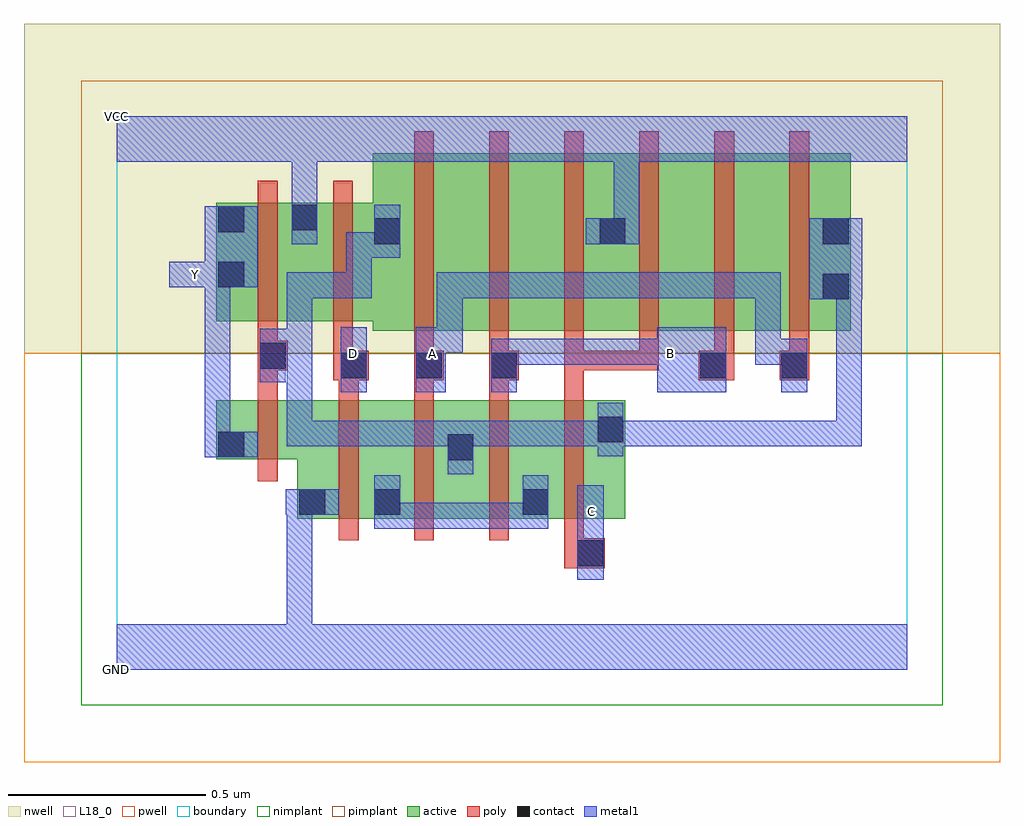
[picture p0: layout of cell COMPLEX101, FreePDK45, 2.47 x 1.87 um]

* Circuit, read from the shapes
.subckt COMPLEX101 A B C D GND VCC Y
M1 GND n1 Y VSUBS nfet w=0.15u l=0.05u
M2 n2 D GND VSUBS nfet w=0.3u l=0.05u
M3 n1 A n2 VSUBS nfet w=0.3u l=0.05u
M4 n2 B n1 VSUBS nfet w=0.3u l=0.05u
M5 n1 C n2 VSUBS nfet w=0.3u l=0.05u
M6 VCC n1 Y n3 pfet w=0.3u l=0.05u
M7 n1 D VCC n3 pfet w=0.3u l=0.05u
M8 n4 A n1 n3 pfet w=0.45u l=0.05u
M9 n5 B n4 n3 pfet w=0.45u l=0.05u
M10 VCC C n5 n3 pfet w=0.45u l=0.05u
M11 n6 C VCC n3 pfet w=0.45u l=0.05u
M12 n7 B n6 n3 pfet w=0.45u l=0.05u
M13 n1 A n7 n3 pfet w=0.45u l=0.05u
.ends

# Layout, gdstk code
import gdstk
lib = gdstk.Library(unit=1e-6, precision=1e-09)
def R(c, l, rs):  # rectangles x0, y0, x1, y1
    for r in rs: c.add(gdstk.rectangle(r[:2], r[2:], *l))
def A(c, l, x, y, w, h, nx, ny, dx, dy):  # array of equal rectangles
    R(c, l, [(x+i*dx, y+j*dy, x+i*dx+w, y+j*dy+h) for i in range(nx) for j in range(ny)])
active = (1, 0)
pwell = (2, 0)
nwell = (3, 0)
nimplant = (4, 0)
pimplant = (5, 0)
poly = (9, 0)
contact = (10, 0)
metal1 = (11, 0)
L18_0 = (18, 0)
boundary = (235, 0)

complex101 = lib.new_cell('COMPLEX101')
R(complex101, active, [(0.457,0.382,0.722,0.682), (0.647,0.382,0.722,0.547), (0.647,0.382,0.907,0.682), (0.832,0.382,1.097,0.682), (0.832,0.382,0.907,0.6), (1.022,0.382,1.287,0.682), (1.022,0.382,1.097,0.547), (1.212,0.382,1.287,0.682), (0.457,0.387,0.532,0.682), (0.252,0.532,0.532,0.682), (0.252,0.532,0.327,0.682), (0.647,0.857,0.872,1.307), (0.872,0.857,1.062,1.307), (1.062,0.857,1.292,1.307), (1.217,0.857,1.442,1.307), (1.217,0.857,1.292,1.305), (1.442,0.857,1.632,1.307), (1.632,0.857,1.857,1.307), (1.782,0.857,1.857,1.2), (0.252,0.882,0.327,1.182), (0.252,0.882,0.512,1.182), (0.437,0.882,0.722,1.182), (0.437,1.007,0.512,1.182), (0.647,1.007,0.722,1.2)])
R(complex101, pwell, [(-0.235,-0.235,2.235,0.8)])
R(complex101, nwell, [(-0.235,0.8,2.235,1.635)])
R(complex101, nimplant, [(-0.09,-0.09,2.09,0.8)])
R(complex101, pimplant, [(-0.09,0.8,2.09,1.49)])
A(complex101, poly, 0.562, 0.327, 0.05, 0.41, 4, 1, 0.19, 0)
A(complex101, poly, 0.562, 0.687, 0.05, 0.095, 3, 1, 0.19, 0)
A(complex101, poly, 0.752, 0.757, 0.05, 0.095, 6, 1, 0.19, 0)
A(complex101, poly, 0.752, 0.802, 0.05, 0.56, 6, 1, 0.19, 0)
R(complex101, poly, [(1.132,0.257,1.235,0.332), (1.132,0.282,1.182,0.377), (0.357,0.477,0.407,0.737), (0.357,0.687,0.407,0.807), (1.132,0.687,1.182,0.807), (0.547,0.732,0.637,0.807), (0.752,0.732,0.827,0.807), (0.942,0.732,1.017,0.807), (1.472,0.732,1.562,0.807), (1.677,0.732,1.752,0.807), (0.357,0.757,0.432,0.832), (0.547,0.757,0.597,0.877), (1.132,0.757,1.182,0.807), (1.132,0.757,1.372,0.807), (1.322,0.757,1.372,0.807), (1.322,0.757,1.372,0.807), (1.322,0.757,1.372,0.807), (0.357,0.782,0.407,0.877), (0.357,0.827,0.407,1.237), (0.547,0.827,0.597,1.237)])
A(complex101, contact, 0.567, 0.737, 0.065, 0.065, 3, 1, 0.19, 0)
R(complex101, contact, [(1.165,0.262,1.23,0.327), (0.462,0.392,0.527,0.457), (0.652,0.392,0.717,0.457), (1.027,0.392,1.092,0.457), (0.837,0.53,0.902,0.595), (0.257,0.537,0.322,0.602), (1.217,0.575,1.282,0.64), (1.477,0.737,1.542,0.802), (1.682,0.737,1.747,0.802), (0.362,0.762,0.427,0.827), (1.787,0.937,1.852,1.002), (0.257,0.967,0.322,1.032), (0.652,1.077,0.717,1.142), (1.222,1.077,1.287,1.142), (1.787,1.077,1.852,1.142), (0.257,1.107,0.322,1.172), (0.442,1.112,0.507,1.177)])
R(complex101, metal1, [(0,0,2,0.115), (0.43,0.05,0.495,0.115), (0.43,0.05,0.495,0.115), (0.43,0.05,0.495,0.457), (1.165,0.227,1.232,0.467), (0.652,0.357,0.717,0.492), (0.652,0.357,0.855,0.422), (0.79,0.357,0.855,0.422), (0.79,0.357,0.855,0.422), (0.79,0.357,0.855,0.422), (0.79,0.357,1.002,0.422), (0.937,0.357,1.002,0.422), (0.937,0.357,1.092,0.422), (1.027,0.357,1.092,0.492), (0.427,0.392,0.562,0.457), (0.43,0.392,0.495,0.457), (0.43,0.392,0.495,0.457), (0.43,0.392,0.495,0.457), (0.43,0.392,0.495,0.457), (0.837,0.495,0.902,0.63), (0.222,0.537,0.357,0.602), (0.222,0.537,0.287,1.032), (1.217,0.54,1.282,0.675), (0.43,0.565,0.495,0.63), (0.43,0.565,0.685,0.63), (0.43,0.565,0.495,0.862), (0.62,0.565,0.685,0.63), (0.62,0.565,0.685,0.63), (0.62,0.565,0.685,0.63), (0.62,0.565,0.822,0.63), (0.757,0.565,0.822,0.63), (0.757,0.565,0.902,0.63), (0.837,0.565,1.012,0.63), (0.947,0.565,1.012,0.63), (0.947,0.565,1.115,0.63), (1.05,0.565,1.115,0.63), (1.05,0.565,1.15,0.63), (1.085,0.565,1.15,0.63), (1.085,0.565,1.282,0.63), (1.217,0.565,1.287,0.63), (1.222,0.565,1.287,0.63), (1.222,0.565,1.472,0.63), (1.407,0.565,1.472,0.63), (1.407,0.565,1.61,0.63), (1.545,0.565,1.61,0.63), (1.545,0.565,1.61,0.63), (1.545,0.565,1.61,0.63), (1.545,0.565,1.885,0.63), (1.82,0.565,1.885,0.63), (1.82,0.565,1.885,0.63), (1.82,0.565,1.885,0.63), (1.82,0.565,1.885,1.002), (0.567,0.702,0.632,0.867), (0.757,0.702,0.832,0.867), (0.947,0.702,1.012,0.837), (1.367,0.702,1.542,0.867), (1.682,0.702,1.747,0.837), (0.362,0.727,0.427,0.862), (0.947,0.772,1.115,0.837), (1.05,0.772,1.115,0.837), (1.05,0.772,1.15,0.837), (1.085,0.772,1.15,0.837), (1.085,0.772,1.295,0.837), (1.23,0.772,1.295,0.837), (1.23,0.772,1.295,0.837), (1.23,0.772,1.295,0.837), (1.23,0.772,1.432,0.837), (1.367,0.772,1.432,0.837), (1.367,0.772,1.432,0.837), (1.615,0.772,1.68,0.837), (1.615,0.772,1.747,0.837), (1.615,0.772,1.68,1.005), (0.362,0.797,0.495,0.862), (0.43,0.797,0.495,0.862), (0.43,0.797,0.495,1.005), (0.767,0.802,0.875,0.867), (0.81,0.802,0.875,0.867), (0.81,0.802,0.875,1.005), (1.752,0.937,1.887,1.142), (1.82,0.937,1.885,1.002), (1.82,0.937,1.885,1.002), (0.43,0.94,0.495,1.005), (0.43,0.94,0.645,1.005), (0.58,0.94,0.645,1.107), (0.81,0.94,0.875,1.005), (0.81,0.94,0.992,1.005), (0.927,0.94,0.992,1.005), (0.927,0.94,1.115,1.005), (1.05,0.94,1.115,1.005), (1.05,0.94,1.15,1.005), (1.085,0.94,1.15,1.005), (1.085,0.94,1.287,1.005), (1.222,0.94,1.287,1.005), (1.222,0.94,1.287,1.005), (1.222,0.94,1.287,1.005), (1.222,0.94,1.472,1.005), (1.407,0.94,1.472,1.005), (1.407,0.94,1.472,1.005), (1.407,0.94,1.472,1.005), (1.407,0.94,1.68,1.005), (1.615,0.94,1.68,1.005), (0.132,0.967,0.287,1.032), (0.222,0.967,0.287,1.032), (0.222,0.967,0.357,1.172), (0.58,1.042,0.717,1.107), (0.652,1.042,0.717,1.177), (0.442,1.077,0.507,1.212), (1.187,1.077,1.322,1.142), (1.257,1.077,1.322,1.35), (0.442,1.147,0.507,1.35), (0,1.285,2,1.4), (0.442,1.285,0.507,1.35), (0.442,1.285,0.507,1.35)])
R(complex101, L18_0, [(0,0,2,0.115), (0.43,0.05,0.495,0.115), (0.43,0.05,0.495,0.115), (0.43,0.05,0.495,0.457), (1.165,0.227,1.232,0.467), (1.167,0.367,1.232,0.432), (0.427,0.392,0.562,0.457), (0.43,0.392,0.495,0.457), (0.43,0.392,0.495,0.457), (0.43,0.392,0.495,0.457), (0.43,0.392,0.495,0.457), (0.222,0.537,0.357,0.602), (0.222,0.537,0.287,1.032), (0.567,0.702,0.632,0.867), (0.757,0.702,0.832,0.867), (0.947,0.702,1.012,0.837), (1.367,0.702,1.542,0.867), (1.682,0.702,1.747,0.837), (0.567,0.767,0.632,0.832), (0.767,0.767,0.832,0.832), (1.367,0.767,1.432,0.832), (0.947,0.772,1.115,0.837), (1.05,0.772,1.115,0.837), (1.05,0.772,1.15,0.837), (1.085,0.772,1.15,0.837), (1.085,0.772,1.295,0.837), (1.23,0.772,1.295,0.837), (1.23,0.772,1.295,0.837), (1.23,0.772,1.295,0.837), (1.23,0.772,1.432,0.837), (1.367,0.772,1.432,0.837), (1.367,0.772,1.432,0.837), (1.615,0.772,1.68,0.837), (1.615,0.772,1.68,1.005), (1.615,0.772,1.747,0.837), (0.767,0.802,0.875,0.867), (0.81,0.802,0.875,0.867), (0.81,0.802,0.875,1.005), (0.81,0.94,0.875,1.005), (0.81,0.94,0.992,1.005), (0.927,0.94,0.992,1.005), (0.927,0.94,1.115,1.005), (1.05,0.94,1.115,1.005), (1.05,0.94,1.15,1.005), (1.085,0.94,1.15,1.005), (1.085,0.94,1.287,1.005), (1.222,0.94,1.287,1.005), (1.222,0.94,1.287,1.005), (1.222,0.94,1.287,1.005), (1.222,0.94,1.472,1.005), (1.407,0.94,1.472,1.005), (1.407,0.94,1.472,1.005), (1.407,0.94,1.472,1.005), (1.407,0.94,1.68,1.005), (1.615,0.94,1.68,1.005), (0.132,0.967,0.287,1.032), (0.167,0.967,0.232,1.032), (0.222,0.967,0.357,1.172), (0.222,0.967,0.287,1.032), (0.442,1.077,0.507,1.212), (1.187,1.077,1.322,1.142), (1.257,1.077,1.322,1.35), (0.442,1.147,0.507,1.35), (0,1.285,2,1.4), (0.442,1.285,0.507,1.35), (0.442,1.285,0.507,1.35)])
R(complex101, boundary, [(0,0,2,1.4)])
complex101.add(gdstk.Label('A', (0.8,0.8), layer=11, texttype=0))
complex101.add(gdstk.Label('B', (1.4,0.8), layer=11, texttype=0))
complex101.add(gdstk.Label('C', (1.2,0.4), layer=11, texttype=0))
complex101.add(gdstk.Label('D', (0.6,0.8), layer=11, texttype=0))
complex101.add(gdstk.Label('Y', (0.2,1), layer=11, texttype=0))
complex101.add(gdstk.Label('VCC', (0,1.4), layer=11, texttype=0))
complex101.add(gdstk.Label('GND', (0,0), layer=11, texttype=0))

lib.write_gds('COMPLEX101.gds')
